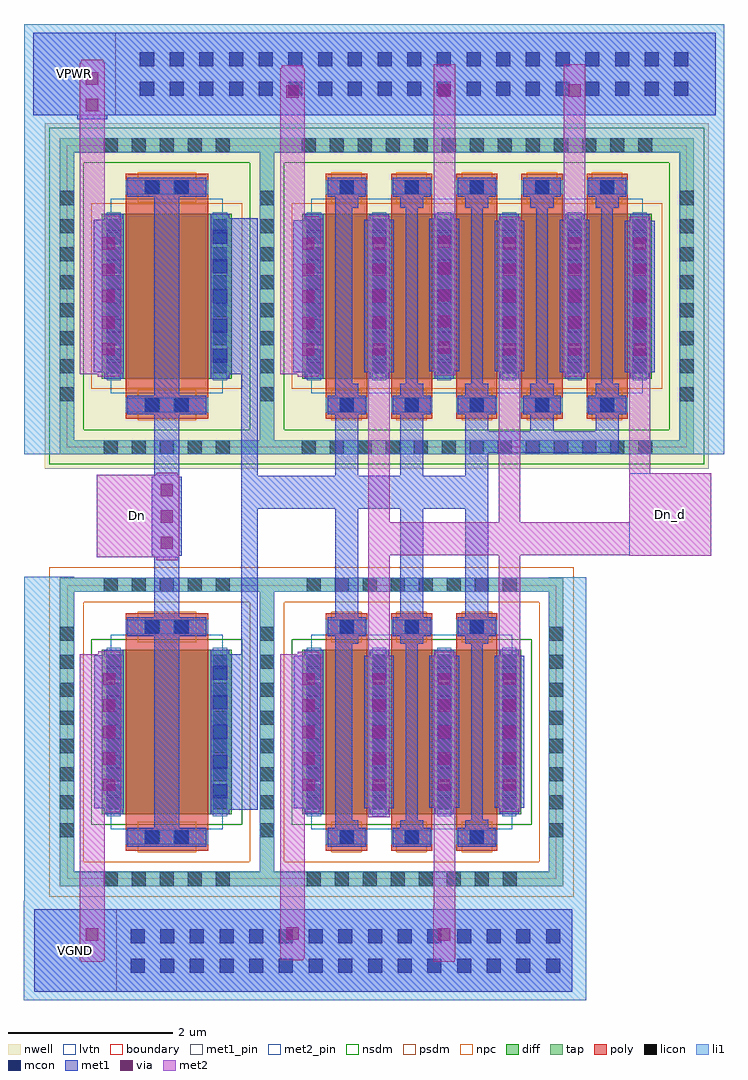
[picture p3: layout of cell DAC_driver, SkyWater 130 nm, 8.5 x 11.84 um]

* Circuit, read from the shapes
.subckt DAC_driver Dn Dn_d VGND VPWR
XM1 n1 Dn VGND VGND sky130_fd_pr__nfet_01v8_lvt w=2 l=1
XM2 Dn_d n1 VGND VGND sky130_fd_pr__nfet_01v8_lvt w=2 l=0.5 m=3
XM3 n1 Dn VPWR VPWR sky130_fd_pr__pfet_01v8_lvt w=2 l=1
XM4 Dn_d n1 VPWR VPWR sky130_fd_pr__pfet_01v8_lvt w=2 l=0.5 m=5
.ends

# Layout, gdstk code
import gdstk
lib = gdstk.Library(unit=1e-6, precision=1e-09)
def R(c, l, rs):  # rectangles x0, y0, x1, y1
    for r in rs: c.add(gdstk.rectangle(r[:2], r[2:], *l))
def A(c, l, x, y, w, h, nx, ny, dx, dy):  # array of equal rectangles
    R(c, l, [(x+i*dx, y+j*dy, x+i*dx+w, y+j*dy+h) for i in range(nx) for j in range(ny)])
nwell = (64, 20)
diff = (65, 20)
tap = (65, 44)
poly = (66, 20)
licon = (66, 44)
li1 = (67, 20)
mcon = (67, 44)
met1_pin = (68, 16)
met1 = (68, 20)
via = (68, 44)
met2_pin = (69, 16)
met2 = (69, 20)
nsdm = (93, 44)
psdm = (94, 20)
npc = (95, 20)
lvtn = (125, 44)
boundary = (235, 4)

sky130_fd_pr__pfet_01v8_ = lib.new_cell('sky130_fd_pr__pfet_01v8_lvt_3VC8VM')
R(sky130_fd_pr__pfet_01v8_, nwell, [(-1.48,-2.095,1.48,2.095)])
R(sky130_fd_pr__pfet_01v8_, diff, [(-0.79,-1,0.79,1)])
R(sky130_fd_pr__pfet_01v8_, tap, [(-1.3,-1.915,1.3,-1.745), (-1.3,-1.745,-1.13,1.745), (1.13,-1.745,1.3,1.745), (-1.3,1.745,1.3,1.915)])
R(sky130_fd_pr__pfet_01v8_, poly, [(-0.5,-1.485,0.5,1.485)])
A(sky130_fd_pr__pfet_01v8_, licon, -0.765, -1.915, 0.17, 0.17, 5, 2, 0.34, 3.66)
A(sky130_fd_pr__pfet_01v8_, licon, -1.3, -1.275, 0.17, 0.17, 1, 8, 0, 0.34)
A(sky130_fd_pr__pfet_01v8_, licon, 1.13, -1.275, 0.17, 0.17, 1, 8, 0, 0.34)
A(sky130_fd_pr__pfet_01v8_, licon, -0.73, -0.935, 0.17, 0.17, 1, 6, 0, 0.34)
A(sky130_fd_pr__pfet_01v8_, licon, 0.56, -0.935, 0.17, 0.17, 1, 6, 0, 0.34)
R(sky130_fd_pr__pfet_01v8_, licon, [(-0.255,-1.405,-0.085,-1.235), (0.085,-1.405,0.255,-1.235), (-0.255,1.235,-0.085,1.405), (0.085,1.235,0.255,1.405)])
R(sky130_fd_pr__pfet_01v8_, li1, [(-1.3,-1.915,1.3,-1.745), (-1.3,-1.745,-1.13,1.745), (1.13,-1.745,1.3,1.745), (-0.5,-1.405,0.5,-1.235), (-0.73,-1.02,-0.56,1.02), (0.56,-1.02,0.73,1.02), (-0.5,1.235,0.5,1.405), (-1.3,1.745,1.3,1.915)])
A(sky130_fd_pr__pfet_01v8_, mcon, -0.73, -0.805, 0.17, 0.17, 1, 5, 0, 0.36)
A(sky130_fd_pr__pfet_01v8_, mcon, 0.56, -0.805, 0.17, 0.17, 1, 5, 0, 0.36)
R(sky130_fd_pr__pfet_01v8_, mcon, [(-0.265,-1.405,-0.095,-1.235), (0.095,-1.405,0.265,-1.235), (-0.265,1.235,-0.095,1.405), (0.095,1.235,0.265,1.405)])
R(sky130_fd_pr__pfet_01v8_, met1, [(-0.48,-1.435,0.48,-1.205), (-0.76,-1,-0.53,1), (0.53,-1,0.76,1), (-0.48,1.205,0.48,1.435)])
R(sky130_fd_pr__pfet_01v8_, nsdm, [(-1.425,-2.04,1.425,-1.62), (-1.425,-1.62,-1.005,1.62), (1.005,-1.62,1.425,1.62), (-1.425,1.62,1.425,2.04)])
R(sky130_fd_pr__pfet_01v8_, psdm, [(-0.915,-1.125,0.915,1.125)])
R(sky130_fd_pr__pfet_01v8_, npc, [(-0.355,-1.505,0.355,-1.135), (-0.355,1.135,0.355,1.505)])
R(sky130_fd_pr__pfet_01v8_, lvtn, [(-0.68,-1.18,0.68,1.18)])
R(sky130_fd_pr__pfet_01v8_, boundary, [(-1.215,-1.83,1.215,1.83)])

sky130_fd_pr__nfet_01v8_ = lib.new_cell('sky130_fd_pr__nfet_01v8_lvt_QGMAL3')
R(sky130_fd_pr__nfet_01v8_, diff, [(-0.79,-1,0.79,1)])
R(sky130_fd_pr__nfet_01v8_, tap, [(-1.3,-1.87,1.3,-1.7), (-1.3,-1.7,-1.13,1.7), (1.13,-1.7,1.3,1.7), (-1.3,1.7,1.3,1.87)])
R(sky130_fd_pr__nfet_01v8_, poly, [(-0.5,-1.44,0.5,1.44)])
A(sky130_fd_pr__nfet_01v8_, licon, -0.765, -1.87, 0.17, 0.17, 5, 2, 0.34, 3.57)
A(sky130_fd_pr__nfet_01v8_, licon, -1.3, -1.275, 0.17, 0.17, 1, 8, 0, 0.34)
A(sky130_fd_pr__nfet_01v8_, licon, 1.13, -1.275, 0.17, 0.17, 1, 8, 0, 0.34)
A(sky130_fd_pr__nfet_01v8_, licon, -0.73, -0.935, 0.17, 0.17, 1, 6, 0, 0.34)
A(sky130_fd_pr__nfet_01v8_, licon, 0.56, -0.935, 0.17, 0.17, 1, 6, 0, 0.34)
R(sky130_fd_pr__nfet_01v8_, licon, [(-0.255,-1.36,-0.085,-1.19), (0.085,-1.36,0.255,-1.19), (-0.255,1.19,-0.085,1.36), (0.085,1.19,0.255,1.36)])
R(sky130_fd_pr__nfet_01v8_, li1, [(-1.3,-1.87,1.3,-1.7), (-1.3,-1.7,-1.13,1.7), (1.13,-1.7,1.3,1.7), (-0.5,-1.36,0.5,-1.19), (-0.73,-1.02,-0.56,1.02), (0.56,-1.02,0.73,1.02), (-0.5,1.19,0.5,1.36), (-1.3,1.7,1.3,1.87)])
A(sky130_fd_pr__nfet_01v8_, mcon, -0.73, -0.805, 0.17, 0.17, 1, 5, 0, 0.36)
A(sky130_fd_pr__nfet_01v8_, mcon, 0.56, -0.805, 0.17, 0.17, 1, 5, 0, 0.36)
R(sky130_fd_pr__nfet_01v8_, mcon, [(-0.265,-1.36,-0.095,-1.19), (0.095,-1.36,0.265,-1.19), (-0.265,1.19,-0.095,1.36), (0.095,1.19,0.265,1.36)])
R(sky130_fd_pr__nfet_01v8_, met1, [(-0.48,-1.39,0.48,-1.16), (-0.76,-1,-0.53,1), (0.53,-1,0.76,1), (-0.48,1.16,0.48,1.39)])
R(sky130_fd_pr__nfet_01v8_, nsdm, [(-0.915,-1.125,0.915,1.125)])
R(sky130_fd_pr__nfet_01v8_, psdm, [(-1.425,-1.995,1.425,-1.575), (-1.425,-1.575,-1.005,1.575), (1.005,-1.575,1.425,1.575), (-1.425,1.575,1.425,1.995)])
R(sky130_fd_pr__nfet_01v8_, npc, [(-0.355,-1.46,0.355,-1.09), (-0.355,1.09,0.355,1.46)])
R(sky130_fd_pr__nfet_01v8_, lvtn, [(-0.68,-1.18,0.68,1.18)])
R(sky130_fd_pr__nfet_01v8_, boundary, [(-1.21,-1.78,1.21,1.78)])

c_sky130_fd_pr__pfet_01v8_ = lib.new_cell('sky130_fd_pr__pfet_01v8_lvt_X33VY6')
R(c_sky130_fd_pr__pfet_01v8_, nwell, [(-2.81,-2.095,2.81,2.095)])
R(c_sky130_fd_pr__pfet_01v8_, diff, [(-2.12,-1,2.12,1)])
R(c_sky130_fd_pr__pfet_01v8_, tap, [(-2.63,-1.915,2.63,-1.745), (-2.63,-1.745,-2.46,1.745), (2.46,-1.745,2.63,1.745), (-2.63,1.745,2.63,1.915)])
A(c_sky130_fd_pr__pfet_01v8_, poly, -1.83, -1.485, 0.5, 2.97, 5, 1, 0.79, 0)
A(c_sky130_fd_pr__pfet_01v8_, licon, -2.125, -1.915, 0.17, 0.17, 13, 2, 0.34, 3.66)
A(c_sky130_fd_pr__pfet_01v8_, licon, -1.665, -1.405, 0.17, 0.17, 5, 2, 0.79, 2.64)
A(c_sky130_fd_pr__pfet_01v8_, licon, -2.63, -1.275, 0.17, 0.17, 1, 8, 0, 0.34)
A(c_sky130_fd_pr__pfet_01v8_, licon, 2.46, -1.275, 0.17, 0.17, 1, 8, 0, 0.34)
A(c_sky130_fd_pr__pfet_01v8_, licon, -2.06, -0.935, 0.17, 0.17, 6, 6, 0.79, 0.34)
A(c_sky130_fd_pr__pfet_01v8_, li1, -1.83, -1.405, 0.5, 0.17, 5, 2, 0.79, 2.64)
A(c_sky130_fd_pr__pfet_01v8_, li1, -2.06, -1.02, 0.17, 2.04, 6, 1, 0.79, 0)
R(c_sky130_fd_pr__pfet_01v8_, li1, [(-2.63,-1.915,2.63,-1.745), (-2.63,-1.745,-2.46,1.745), (2.46,-1.745,2.63,1.745), (-2.63,1.745,2.63,1.915)])
A(c_sky130_fd_pr__pfet_01v8_, mcon, -1.665, -1.405, 0.17, 0.17, 5, 2, 0.79, 2.64)
A(c_sky130_fd_pr__pfet_01v8_, mcon, -2.06, -0.805, 0.17, 0.17, 6, 5, 0.79, 0.36)
A(c_sky130_fd_pr__pfet_01v8_, met1, -1.81, -1.435, 0.46, 0.23, 5, 2, 0.79, 2.64)
A(c_sky130_fd_pr__pfet_01v8_, met1, -2.09, -1, 0.23, 2, 6, 1, 0.79, 0)
R(c_sky130_fd_pr__pfet_01v8_, nsdm, [(-2.755,-2.04,2.755,-1.62), (-2.755,-1.62,-2.335,1.62), (2.335,-1.62,2.755,1.62), (-2.755,1.62,2.755,2.04)])
R(c_sky130_fd_pr__pfet_01v8_, psdm, [(-2.245,-1.125,2.245,1.125)])
A(c_sky130_fd_pr__pfet_01v8_, npc, -1.765, -1.505, 0.37, 0.37, 5, 2, 0.79, 2.64)
R(c_sky130_fd_pr__pfet_01v8_, lvtn, [(-2.01,-1.18,2.01,1.18)])
R(c_sky130_fd_pr__pfet_01v8_, boundary, [(-2.545,-1.83,2.545,1.83)])

c_sky130_fd_pr__nfet_01v8_ = lib.new_cell('sky130_fd_pr__nfet_01v8_lvt_56BWKP')
R(c_sky130_fd_pr__nfet_01v8_, diff, [(-1.33,-1,1.33,1)])
R(c_sky130_fd_pr__nfet_01v8_, tap, [(-1.84,-1.87,1.84,-1.7), (-1.84,-1.7,-1.67,1.7), (1.67,-1.7,1.84,1.7), (-1.84,1.7,1.84,1.87)])
A(c_sky130_fd_pr__nfet_01v8_, poly, -1.04, -1.44, 0.5, 2.88, 3, 1, 0.79, 0)
A(c_sky130_fd_pr__nfet_01v8_, licon, -1.275, -1.87, 0.17, 0.17, 8, 2, 0.34, 3.57)
A(c_sky130_fd_pr__nfet_01v8_, licon, -0.875, -1.36, 0.17, 0.17, 3, 2, 0.79, 2.55)
A(c_sky130_fd_pr__nfet_01v8_, licon, -1.84, -1.275, 0.17, 0.17, 1, 8, 0, 0.34)
A(c_sky130_fd_pr__nfet_01v8_, licon, 1.67, -1.275, 0.17, 0.17, 1, 8, 0, 0.34)
A(c_sky130_fd_pr__nfet_01v8_, licon, -1.27, -0.935, 0.17, 0.17, 4, 6, 0.79, 0.34)
A(c_sky130_fd_pr__nfet_01v8_, li1, -1.04, -1.36, 0.5, 0.17, 3, 2, 0.79, 2.55)
A(c_sky130_fd_pr__nfet_01v8_, li1, -1.27, -1.02, 0.17, 2.04, 4, 1, 0.79, 0)
R(c_sky130_fd_pr__nfet_01v8_, li1, [(-1.84,-1.87,1.84,-1.7), (-1.84,-1.7,-1.67,1.7), (1.67,-1.7,1.84,1.7), (-1.84,1.7,1.84,1.87)])
A(c_sky130_fd_pr__nfet_01v8_, mcon, -0.875, -1.36, 0.17, 0.17, 3, 2, 0.79, 2.55)
A(c_sky130_fd_pr__nfet_01v8_, mcon, -1.27, -0.805, 0.17, 0.17, 4, 5, 0.79, 0.36)
A(c_sky130_fd_pr__nfet_01v8_, met1, -1.02, -1.39, 0.46, 0.23, 3, 2, 0.79, 2.55)
A(c_sky130_fd_pr__nfet_01v8_, met1, -1.3, -1, 0.23, 2, 4, 1, 0.79, 0)
R(c_sky130_fd_pr__nfet_01v8_, nsdm, [(-1.455,-1.125,1.455,1.125)])
R(c_sky130_fd_pr__nfet_01v8_, psdm, [(-1.965,-1.995,1.965,-1.575), (-1.965,-1.575,-1.545,1.575), (1.545,-1.575,1.965,1.575), (-1.965,1.575,1.965,1.995)])
A(c_sky130_fd_pr__nfet_01v8_, npc, -0.975, -1.46, 0.37, 0.37, 3, 2, 0.79, 2.55)
R(c_sky130_fd_pr__nfet_01v8_, lvtn, [(-1.22,-1.18,1.22,1.18)])
R(c_sky130_fd_pr__nfet_01v8_, boundary, [(-1.75,-1.78,1.75,1.78)])

dac_driver = lib.new_cell('DAC_driver')
R(dac_driver, li1, [(3.795,-5.91,10.615,-4.71), (3.8,-4.71,10.615,-4.35), (3.8,-4.35,4.41,-0.78), (10.16,-4.35,10.615,-0.785), (3.8,0.705,4.405,4.365), (11.745,0.705,12.29,4.365), (3.8,4.365,12.29,5.925)])
A(dac_driver, mcon, 5.09, -5.58, 0.17, 0.17, 15, 2, 0.36, 0.36)
A(dac_driver, mcon, 5.205, 5.055, 0.17, 0.17, 19, 2, 0.36, 0.36)
R(dac_driver, met1_pin, [(3.925,-5.81,4.925,-4.81), (3.91,4.82,4.91,5.82)])
A(dac_driver, met1, 7.57, -4.025, 0.28, 0.295, 3, 1, 0.79, 0)
A(dac_driver, met1, 7.57, -1.59, 0.28, 1.635, 3, 1, 0.79, 0)
A(dac_driver, met1, 9.15, 0.985, 0.28, 0.575, 3, 1, 0.79, 0)
A(dac_driver, met1, 8.43, 1.56, 0.14, 2.135, 4, 1, 0.79, 0)
A(dac_driver, met1, 7.57, 3.695, 0.28, 0.34, 5, 1, 0.79, 0)
R(dac_driver, met1, [(3.925,-5.81,10.445,-4.81), (5.38,-4.025,5.68,-0.525), (7.57,-3.73,7.78,-1.59), (8.43,-3.73,8.57,-1.59), (9.22,-3.73,9.43,-3.725), (9.22,-3.725,9.36,-1.59), (6.085,-3.605,6.63,-1.715), (4.65,-3.585,5.01,-1.73), (7.07,-3.585,7.43,-1.735), (7.925,-3.585,8.285,-1.735), (8.715,-3.58,9.075,-1.735), (9.505,-3.58,9.865,-1.735), (6.43,-1.715,6.63,0.045), (5.35,-0.525,5.71,0.435), (6.43,0.045,9.43,0.445), (5.38,0.435,5.68,4.035), (6.43,0.445,6.63,1.68), (7.57,0.445,7.85,1.56), (8.36,0.445,8.64,1.56), (9.15,0.445,9.43,0.725), (9.15,0.725,11.01,0.985), (7.57,1.56,7.78,3.695), (6.085,1.68,6.63,3.57), (4.645,1.7,5.005,3.55), (7.065,1.7,7.425,3.545), (10.295,1.7,10.655,3.55), (7.925,1.705,8.285,3.55), (11.085,1.705,11.445,3.54), (8.715,1.715,9.075,3.565), (9.505,1.715,9.865,3.54), (4.445,4.77,4.81,4.82), (3.91,4.82,12.185,5.82)])
A(dac_driver, via, 4.755, -3.375, 0.15, 0.15, 1, 5, 0, 0.32)
A(dac_driver, via, 7.175, -3.375, 0.15, 0.15, 1, 5, 0, 0.32)
A(dac_driver, via, 8.03, -3.375, 0.15, 0.15, 3, 5, 0.79, 0.32)
A(dac_driver, via, 5.455, -0.44, 0.15, 0.15, 1, 3, 0, 0.32)
A(dac_driver, via, 7.17, 1.905, 0.15, 0.15, 1, 5, 0, 0.32)
A(dac_driver, via, 11.19, 1.905, 0.15, 0.15, 1, 5, 0, 0.32)
A(dac_driver, via, 4.75, 1.91, 0.15, 0.15, 1, 5, 0, 0.32)
A(dac_driver, via, 8.03, 1.91, 0.15, 0.15, 1, 5, 0, 0.32)
A(dac_driver, via, 9.61, 1.91, 0.15, 0.15, 1, 5, 0, 0.32)
A(dac_driver, via, 10.4, 1.91, 0.15, 0.15, 1, 5, 0, 0.32)
A(dac_driver, via, 8.82, 1.925, 0.15, 0.15, 1, 5, 0, 0.32)
R(dac_driver, via, [(4.55,-5.19,4.7,-5.04), (8.815,-5.19,8.965,-5.04), (6.98,-5.18,7.13,-5.03), (4.55,4.87,4.7,5.02), (6.98,5.03,7.13,5.18), (8.82,5.045,8.97,5.195), (10.4,5.045,10.55,5.195), (4.55,5.19,4.7,5.34)])
R(dac_driver, met2_pin, [(4.68,-0.54,5.68,0.46), (11.135,-0.52,12.135,0.48)])
R(dac_driver, met2, [(4.495,-5.445,4.755,-5.425), (8.76,-5.445,9.02,-5.395), (6.925,-5.43,7.185,-5.405), (4.475,-5.425,4.775,-3.635), (6.905,-5.405,7.205,-3.635), (8.76,-5.395,9.025,-4.785), (8.765,-4.785,9.025,-1.685), (7.975,-3.695,8.235,-0.515), (4.475,-3.635,4.96,-3.605), (6.905,-3.635,7.38,-3.605), (9.555,-3.63,9.815,-0.515), (4.475,-3.605,4.975,-1.715), (6.905,-3.605,7.405,-1.715), (4.7,-1.715,4.96,-1.68), (7.12,-1.715,7.38,-1.685), (5.4,-0.575,5.66,-0.54), (4.68,-0.54,5.68,0.46), (11.135,-0.52,12.135,-0.515), (7.97,-0.515,12.135,-0.115), (7.975,-0.115,8.235,3.6), (9.555,-0.115,9.815,3.59), (11.135,-0.115,12.135,0.48), (5.4,0.46,5.66,0.485), (11.135,0.48,11.395,3.59), (4.695,1.65,4.955,1.68), (7.115,1.65,7.375,1.68), (10.345,1.65,10.605,5.435), (8.765,1.665,9.025,5.435), (4.475,1.68,4.975,3.57), (6.905,1.68,7.405,3.57), (4.475,3.57,4.955,3.6), (6.905,3.57,7.375,3.595), (6.905,3.595,7.205,5.39), (4.475,3.6,4.775,5.455), (6.925,5.39,7.185,5.425), (4.495,5.455,4.76,5.49)])
dac_driver.add(gdstk.Reference(sky130_fd_pr__pfet_01v8_, (5.53,2.625)))
dac_driver.add(gdstk.Reference(sky130_fd_pr__nfet_01v8_, (5.53,-2.66)))
dac_driver.add(gdstk.Reference(c_sky130_fd_pr__pfet_01v8_, (9.29,2.625)))
dac_driver.add(gdstk.Reference(c_sky130_fd_pr__nfet_01v8_, (8.5,-2.66)))
dac_driver.add(gdstk.Label('Dn_d', (11.635,-0.02), layer=69, texttype=5))
dac_driver.add(gdstk.Label('Dn', (5.18,-0.04), layer=69, texttype=5))
dac_driver.add(gdstk.Label('VPWR', (4.41,5.32), layer=68, texttype=5))
dac_driver.add(gdstk.Label('VGND', (4.425,-5.31), layer=68, texttype=5))

lib.write_gds('DAC_driver.gds')
